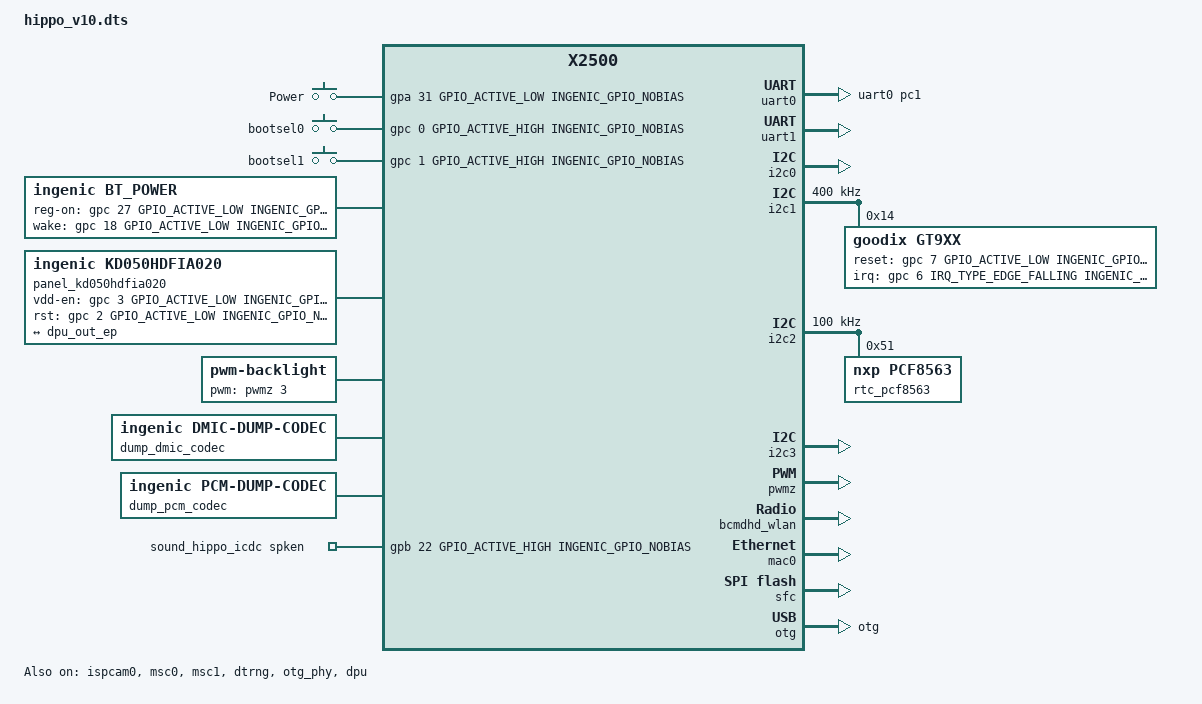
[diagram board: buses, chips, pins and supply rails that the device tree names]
/dts-v1/;

#include <dt-bindings/input/input.h>
#include "x2500.dtsi"
#include <dt-bindings/interrupt-controller/irq.h>
#include <generated/autoconf.h>


#ifdef CONFIG_RD_X2000_HALLEY5_CAMERA_3V2
#include "hippo_cameras/RD_X2000_HALLEY5_CAMERA_3V2.dtsi"
#elif CONFIG_RD_X2000_HALLEY5_CAMERA_4V3
#include "hippo_cameras/RD_X2000_HALLEY5_CAMERA_4V3.dtsi"
#elif CONFIG_RD_X2500_HIPPO_CAMERA_1V0
#include "hippo_cameras/RD_X2500_HIPPO_CAMERA_1V0.dtsi"
#elif CONFIG_RD_X2500_HIPPO_CAMERA_1V1
#include "hippo_cameras/RD_X2500_HIPPO_CAMERA_1V1.dtsi"
#endif

/ {
	compatible = "ingenic,hippo", "ingenic,x2500";
};

&uart0 {
	status = "okay";
	pinctrl-names = "default", "default";
	pinctrl-0 = <&uart0_pc1>;
	pinctrl-1 = <&uart0_pc1_1>;
};

&uart1 {
	status = "okay";
	pinctrl-names = "default";
	pinctrl-0 = <&uart1_pb>;
};

&uart2 {
	status = "disable";
};

&i2c0 {
	pinctrl-0 = <&i2c0_pa>;
	pinctrl-names = "default";
	status = "okay";
};

&pinctrl {
	touchscreen_pins:touchscreen-pins {
		touchscreen_int_out_high:touchscreen-int-out-high {
			ingenic,pinmux = <&gpc 6 6>;
			ingenic,pinmux-funcsel = <PINCTL_FUNCHILVL>;
		};
		touchscreen_int_out_low:touchscreen-int-out-low {
			ingenic,pinmux = <&gpc 6 6>;
			ingenic,pinmux-funcsel = <PINCTL_FUNCLOLVL>;
		};
		touchscreen_int_input:touchscreen-int-input {
			ingenic,pinmux = <&gpc 6 6>;
			ingenic,pinmux-funcsel = <PINCTL_FUNCINPUT_FE>;
		};
		touchscreen_default:touchscreen-default {
			ingenic,pinmux = <&gpc 6 6>;
			ingenic,pinmux-funcsel = <PINCTL_FUNCINPUT>;
		};
	};
};

&i2c1 {
	clock-frequency = <400000>;
	pinctrl-names = "default";
	status = "okay";
	pinctrl-0 = <&i2c1_pd>;

	goodix@14{
		compatible = "goodix,gt9xx"; /* do not modify */
		reg = <0x14>; /* do not modify */
		reset-gpios = <&gpc 7 GPIO_ACTIVE_LOW INGENIC_GPIO_NOBIAS>; /* RST pin */
		irq-gpios = <&gpc 6 IRQ_TYPE_EDGE_FALLING INGENIC_GPIO_NOBIAS>; /* INT pin */
		goodix,driver-send-cfg = <1>;
		touchscreen-size-x = <1280>;
		touchscreen-size-y = <720>;
		goodix,slide-wakeup = <0>;
		goodix,type-a-report = <0>;
		goodix,resume-in-workqueue = <0>;
		goodix,int-sync = <1>;
		goodix,swap-x2y = <0>;
		goodix,auto-update-cfg = <0>;
		goodix,power-off-sleep = <0>;
		goodix,pen-suppress-finger = <0>;
		irq-flags = <2>; /* 1 rising, 2 falling */
		pinctrl-names = "default", "int-output-high", "int-output-low", "int-input";
		pinctrl-0 = <&touchscreen_default>;
		pinctrl-1 = <&touchscreen_int_out_high>;
		pinctrl-2 = <&touchscreen_int_out_low>;
		pinctrl-3 = <&touchscreen_int_input>;
		goodix,cfg-group0 = [
			00 D0 02 00 05 0A 05 00 01 08 28
			05 50 32 03 05 00 00 00 00 00 00
			00 00 00 00 00 87 28 09 17 15 31
			0D 00 00 02 9B 03 25 00 00 00 00
			00 03 64 32 00 00 00 0F 36 94 C5
			02 07 00 00 04 9B 11 00 7B 16 00
			64 1C 00 50 25 00 42 2F 00 42 00
			00 00 00 00 00 00 00 00 00 00 00
			00 00 00 00 00 00 00 00 00 00 00
			00 00 00 00 00 00 00 00 00 00 00
			00 00 12 10 0E 0C 0A 08 06 04 02
			FF FF FF FF FF 00 00 00 00 00 00
			00 00 00 00 00 00 00 00 00 00 26
			24 22 21 20 1F 1E 1D 00 02 04 06
			08 0A 0C FF FF FF FF FF FF FF FF
			FF FF FF 00 00 00 00 00 00 00 00
			00 00 00 00 00 00 00 00 CF 01];
	};
};

&i2c2 {
	clock-frequency = <100000>;
	pinctrl-0 = <&i2c2_pb>;
	timeout = <1000>;
	pinctrl-names = "default";
	status = "okay";

	rtc_pcf8563:rtc_pcf8563@51{
		compatible = "nxp,pcf8563";
		reg = <0x51>;
		status = "ok";
	    };
};

&i2c3 {
	pinctrl-0 = <&i2c3_pa>;
	pinctrl-names = "default";
	status = "okay";
};

&ispcam0 {
	status = "okay";
};

&cpufreq {
	status = "disable";
	operating-points = <
		/*KHZ uV */
		1200000	900000
		750000	900000
		600000	900000
		500000	900000
		400000	900000
		375000	900000
		300000	900000
		200000	900000
			>;

};

&pwmz {
	status = "okay";
	pinctrl-names = "default";
	pinctrl-0 = <&pwm3_pb>;
};

&pdma {
	status = "okay";
};

&msc0 {
	status = "okay";
	pinctrl-names = "default";
	pinctrl-0 = <&msc0_pb>;
	cap-mmc-highspeed;
	max-frequency = <50000000>;
	bus-width = <4>;
	voltage-ranges = <1800 3300>;
	cd-gpios = <&gpb 20 GPIO_ACTIVE_LOW INGENIC_GPIO_NOBIAS>;
	/* special property */
	ingenic,rst-gpios = <0>;
	ingenic,pwr-gpios = <0>;
};

&msc1 {
	status = "okay";
	pinctrl-names = "default";
	pinctrl-0 = <&msc1_pc>;
	cap-mmc-highspeed;
	max-frequency = <100000000>;
	bus-width = <4>;
	voltage-ranges = <1800 3300>;
	non-removable;

	ingenic,sdio_clk = <1>;
	keep-power-in-suspend;

	/* special property */
	ingenic,wp-gpios = <0>;
	ingenic,removal-manual; /*removal-dontcare, removal-nonremovable, removal-removable, removal-manual*/

	bcmdhd_wlan: bcmdhd_wlan {
		 compatible = "android,bcmdhd_wlan";
		 ingenic,sdio-irq = <&gpc 23 IRQ_TYPE_LEVEL_HIGH INGENIC_GPIO_NOBIAS>;
		 ingenic,sdio-reset = <&gpc 20 GPIO_ACTIVE_LOW INGENIC_GPIO_NOBIAS>;
	};
};

&mac0 {
	pinctrl-names = "default", "reset";
	pinctrl-0 = <&mac0_rmii_p0_normal>, <&mac0_rmii_p1_normal>;
	pinctrl-1 = <&mac0_rmii_p0_rst>, <&mac0_rmii_p1_normal>;
	status = "okay";
	ingenic,rst-gpio = <&gpb 21 GPIO_ACTIVE_LOW INGENIC_GPIO_NOBIAS>;
	ingenic,rst-ms = <10>;
	ingenic,mac-mode = <RMII>;
	ingenic,mode-reg = <0xb00000e8>;
	ingenic,phy-clk-freq = <50000000>;
};

&sfc {
	status = "okay";
	pinctrl-names = "default";
	pinctrl-0 = <&sfc_pa>;
	ingenic,sfc-init-frequency = <20000000>;
	ingenic,sfc-max-frequency = <320000000>;
	ingenic,use_ofpart_info      = /bits/ 8 <0>;
	ingenic,spiflash_param_offset = <0>;
};

&spi0 {
	status = "disable";
	pinctrl-names = "default";
	pinctrl-0 = <&spi0_pc>;

	spi-max-frequency = <48000000>;
	num-cs = <2>;
	cs-gpios = <0>, <0>;
	ingenic,chnl = <0>;
	ingenic,allow_cs_same = <1>;
	ingenic,bus_num = <0>;
	ingenic,has_dma_support = <1>;
	ingenic,spi-src-clk = <1>;/*0.ext; 1.ssi*/

	/* Add SPI interface device */
	spidev: spidev@0 {
		compatible = "rohm,dh2228fv";
		reg = <0>;
		spi-max-frequency = <10000000>;
	};
};

&dtrng {
	status = "okay";
};

&otg {
	g-use-dma;
	dr_mode = "otg";
	device-using-dma = <1>;
	status = "okay";
};

&otg_phy {
	dr_mode = "otg";
	compatible = "ingenic,innophy-x2500", "syscon";
	ingenic,vbus-dete-gpio = <&gpc 28 GPIO_ACTIVE_LOW INGENIC_GPIO_NOBIAS>;
	ingenic,drvvbus-gpio = <&gpb 27 GPIO_ACTIVE_HIGH INGENIC_GPIO_NOBIAS>;
	status = "okay";
};

/ {

	extclk: extclk {
		   clock-frequency = <24000000>;
	};

	gpio_keys: gpio_keys {
		   compatible = "gpio-keys";

		   power {
			   label = "Power";
			   linux,code = <KEY_POWER>;
			   gpios = <&gpa 31 GPIO_ACTIVE_LOW INGENIC_GPIO_NOBIAS>;
			   gpio-key,wakeup;
		   };

		   bootsel0 {
			   label = "bootsel0";
			   linux,code = <KEY_HOME>;
			   gpios = <&gpc 0 GPIO_ACTIVE_HIGH INGENIC_GPIO_NOBIAS>;
			   gpio-key,wakeup;
		   };

		   bootsel1 {
			   label = "bootsel1";
			   linux,code = <KEY_BACK>;
			   gpios = <&gpc 1 GPIO_ACTIVE_HIGH INGENIC_GPIO_NOBIAS>;
			   gpio-key,wakeup;
		   };

	   };

	bt_power {
		compatible = "ingenic,bt_power";
		ingenic,reg-on-gpio = <&gpc 27 GPIO_ACTIVE_LOW INGENIC_GPIO_NOBIAS>;
		ingenic,wake-gpio = <&gpc 18 GPIO_ACTIVE_LOW INGENIC_GPIO_NOBIAS>;
	};
};

&soc_nna{
	status="okay";
};

&el150 {
	status = "disable";
};


&dpu {
	status = "okay";
	ingenic,disable-rdma-fb = <1>;
	ingenic,layer-exported = <1 1 0 0>;
	ingenic,layer-frames   = <2 2 2 2>;
	ingenic,layer-framesize = <720 1280>, <720 1280>, <320 240>, <320 240>;   /*Max framesize for each layer.*/
	layer,color_mode	= <0 0 0 0>;					/*src fmt,*/
	layer,src-size       	= <720 1280>, <720 1280>, <320 240>, <240 200>;	/*Layer src size should smaller than framesize*/
	layer,target-size	= <720 1280>, <720 1280>, <160 240>, <240 200>;	/*Target Size should smaller than src_size.*/
	layer,target-pos	= <0 0>, <0 0>, <340 480>, <100 980>;	/*target pos , the start point of the target panel.*/
	layer,enable		= <1 1 1 1>;					/*layer enabled or disabled.*/
	ingenic,logo-pan-layer	= <0>;						/*on which layer should init logo pan on.*/
	port {
		dpu_out_ep: endpoint {
			remote-endpoint = <&panel_kd050hdfia020_ep>;
	    };
	};
};

/ {
	display-dpi {
		compatible = "simple-bus";
		#interrupt-cells = <1>;
		#address-cells = <1>;
		#size-cells = <1>;
		ranges = <>;
		panel_kd050hdfia020 {
			compatible = "ingenic,kd050hdfia020";
			status = "okay";
			pinctrl-names = "default";
			ingenic,vdd-en-gpio = <&gpc 3 GPIO_ACTIVE_LOW INGENIC_GPIO_NOBIAS>;
			ingenic,rst-gpio = <&gpc 2 GPIO_ACTIVE_LOW INGENIC_GPIO_NOBIAS>;
	/*		ingenic,lcd-pwm-gpio = <&gpb 31 GPIO_ACTIVE_HIGH INGENIC_GPIO_NOBIAS>;*/
			port {
				panel_kd050hdfia020_ep: endpoint {
					remote-endpoint = <&dpu_out_ep>;
				};
			};
		};

	};

	backlight {
		compatible = "pwm-backlight";
		pwms = <&pwmz 3 10000>; /* arg1: pwm channel id [0~15]. arg2: period in ns. */
		brightness-levels = <0 1 2 3 4 5 6 7 8 9 10 11 12 13 14 15>;
		default-brightness-level = <5>;
		/*default brightness is 5, you can echo x > /sys/devices/platform/backlight/backlight/backlight/brightness to adjust backlight*/
	};
};


/ {
	dump_dmic_codec:dump_dmic_codec{
		compatible = "ingenic,dmic-dump-codec";
		status = "ok";
	};
	dump_pcm_codec:dump_pcm_codec{
		compatible = "ingenic,pcm-dump-codec";
		status = "ok";
	};

	sound_hippo_icdc {
		status = "ok";
		compatible = "ingenic,x2500-sound";
		ingenic,model = "hippo";
		ingenic,dai-link = "i2s-icodec", "dmic", "i2s-tloop";
		ingenic,stream = "i2s-icodec", "dmic", "i2s-tloop";
		ingenic,cpu-dai = <&i2s>, <&dmic>, <&i2s_tloop>;
		ingenic,platform = <&aic>, <&dmic>, <&i2s_tloop>;
		ingenic,codec = <&icodec>, <&dmic>, <&dump_pcm_codec>;
		ingenic,codec-dai = "icodec", "dmic-codec-hifi", "pcm-dump";
		ingenic,audio-routing = "Speaker", "HPOUTL", "DACL", "MICBIAS" ,
			"ADCL",  "MICL",
			"ADCR",  "MICR";
		ingenic,spken-gpio = <&gpb 22 GPIO_ACTIVE_HIGH INGENIC_GPIO_NOBIAS>;
	};

};
